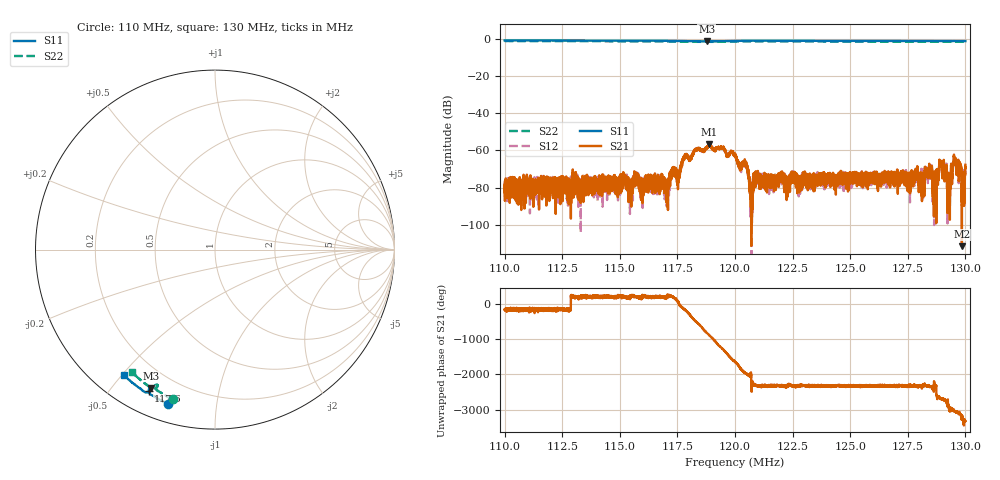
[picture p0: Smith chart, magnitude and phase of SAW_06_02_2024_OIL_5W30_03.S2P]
!Agilent Technologies,E5071C,MY46520923,B.12.03
!Date: Wed Feb 07 10:26:35 2024
!Data & Calibration Information:
!Freq	S11:SOLT2(ON)	S21:SOLT2(ON)	S12:SOLT2(ON)	S22:SOLT2(ON)
!PortZ  Port1:50+j0  Port2:50+j0
!Above PortZ is port z conversion or system Z0 setting when saving the data.
!When reading, reference impedance value at option line is always used.
# Hz S dB R 50
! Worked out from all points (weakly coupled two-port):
!   10000 points, 110 MHz to 130 MHz, reference 50 ohm
!   highest |S21| = -56.78 dB at 118.9 MHz (marker M1); lowest = -111.4 dB at 129.8 MHz (marker M2)
!   lowest |S11| = -1.4 dB at 118.8 MHz (marker M3), VSWR 12.35, Z = 5.68 - j31.7 ohm
!   |S11| at or under -10 dB: nowhere
!   |S22| runs from -1.7 to -1.2 dB; largest |S21 - S12| = 0.00025
!   S11 on the Smith chart (normalised r, x): 110 MHz: 0.08, -0.74; 117.6 MHz: 0.10, -0.63; 130 MHz: 0.09, -0.51
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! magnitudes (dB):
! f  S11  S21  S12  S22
! 110 MHz  -0.9  -81.6  -77.2  -1.2
! 113.3 MHz  -1.0  -80.6  -80.6  -1.3
! 116.7 MHz  -1.1  -75.6  -77.7  -1.4
! 117 MHz  -1.1  -85.4  -75.6  -1.5
! 117.6 MHz  -1.2  -74.8  -72.3  -1.6
! 117.8 MHz  -1.3  -63.7  -63.6  -1.6
! 118.8 MHz  -1.4  -58.2  -58.1  -1.7
! 118.9 MHz  -1.4  -56.8  -56.8  -1.7
! 120 MHz  -1.2  -63.6  -62.3  -1.5
! 120.5 MHz  -1.1  -66.9  -67.0  -1.4
! 120.7 MHz  -1.1  -101.3  -88.2  -1.4
! 120.9 MHz  -1.1  -72.1  -75.1  -1.4
! 123.3 MHz  -1.1  -77.1  -77.4  -1.5
! 126.7 MHz  -1.2  -75.8  -74.0  -1.6
! 128.1 MHz  -1.2  -77.5  -78.8  -1.6
! 128.5 MHz  -1.2  -72.3  -71.8  -1.6
! 128.7 MHz  -1.2  -78.7  -78.2  -1.6
! 129 MHz  -1.2  -68.0  -67.9  -1.7
! 129.3 MHz  -1.3  -75.1  -73.2  -1.7
! 129.6 MHz  -1.3  -64.1  -65.7  -1.7
! 129.8 MHz  -1.3  -111.4  -89.9  -1.7
! 130 MHz  -1.3  -67.7  -67.7  -1.7
